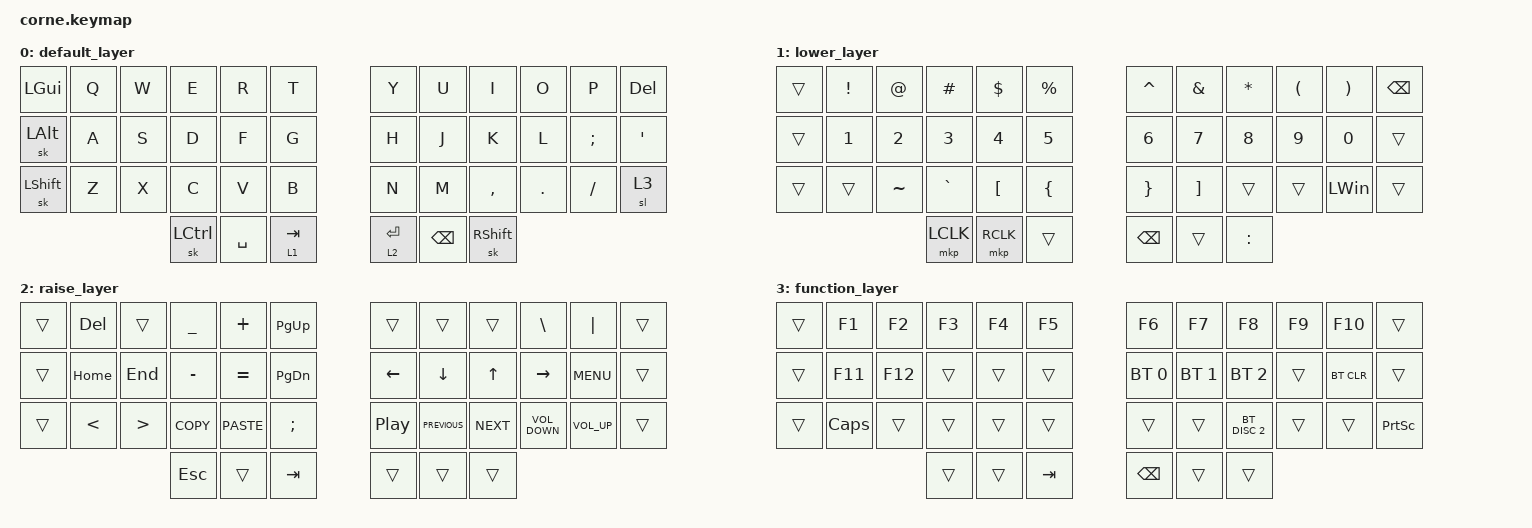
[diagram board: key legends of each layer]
/*
 * Copyright 2024 Michał Minarowski (@n3oney)
 * 
 * Originally created for QMK by Mark Stosberg (@markstos)
 * 
 * SPDX-License-Identifier: GPL-2.0-or-later
 */

#include <behaviors.dtsi>
#include <dt-bindings/zmk/bt.h>
#include <dt-bindings/zmk/keys.h>
#include <dt-bindings/zmk/mouse.h>

/ {
    combos { 
        compatible = "zmk,combos";
        jk_escape_combo {
            timeout-ms = <50>;
            key-positions = <19 20>;
            bindings = <&kp ESC>;
        };
        
        minus_combo {
            timeout-ms = <50>;
            key-positions = <15 16>;
            bindings = <&kp MINUS>;
        };

        underscore_combo {
            timeout-ms = <50>;
            key-positions = <15 16 41>;
            bindings = <&kp UNDERSCORE>;
        };
     };

    keymap {
        compatible = "zmk,keymap";

        default_layer {
            bindings = <
&kp LGUI   &kp Q  &kp W  &kp E      &kp R                 &kp T        &kp Y        &kp U          &kp I            &kp O    &kp P             &kp DELETE
&sk LALT   &kp A  &kp S  &kp D      &kp F                 &kp G        &kp H        &kp J          &kp K            &kp L    &kp SEMICOLON     &kp SINGLE_QUOTE
&sk LSHFT  &kp Z  &kp X  &kp C      &kp V                 &kp B        &kp N        &kp M          &kp COMMA        &kp DOT  &kp FSLH          &sl 3
                         &sk LCTRL  &kp SPACE  &lt 1 TAB         &lt 2 ENTER  &kp BACKSPACE  &sk RIGHT_SHIFT
            >;
        };

        lower_layer {
            bindings = <
&trans  &kp EXCLAMATION  &kp AT_SIGN   &kp POUND     &kp DOLLAR        &kp PERCENT       &kp CARET        &kp AMPERSAND      &kp ASTERISK  &kp LEFT_PARENTHESIS  &kp RIGHT_PARENTHESIS  &kp BSPC
&trans  &kp NUMBER_1     &kp NUMBER_2  &kp NUMBER_3  &kp NUMBER_4      &kp NUMBER_5      &kp NUMBER_6     &kp NUMBER_7       &kp NUMBER_8  &kp NUMBER_9          &kp NUMBER_0           &trans
&trans  &trans           &kp TILDE     &kp GRAVE     &kp LEFT_BRACKET  &kp LEFT_BRACE    &kp RIGHT_BRACE  &kp RIGHT_BRACKET  &trans        &trans                &kp LEFT_WIN           &trans
                                       &mkp LCLK     &mkp RCLK         &trans            &kp BACKSPACE    &trans             &kp COLON
            >;
        };

        raise_layer {
            bindings = <
&trans  &kp DELETE     &trans            &kp UNDERSCORE  &kp PLUS     &kp PAGE_UP      &trans            &trans          &trans        &kp BACKSLASH      &kp PIPE         &trans
&trans  &kp HOME       &kp END           &kp MINUS       &kp EQUAL    &kp PAGE_DOWN    &kp LEFT          &kp DOWN        &kp UP_ARROW  &kp RIGHT          &kp K_MENU       &trans
&trans  &kp LESS_THAN  &kp GREATER_THAN  &kp K_COPY      &kp K_PASTE  &kp SEMICOLON    &kp C_PLAY_PAUSE  &kp C_PREVIOUS  &kp C_NEXT    &kp C_VOLUME_DOWN  &kp C_VOLUME_UP  &trans
                                         &kp ESCAPE      &trans       &kp TAB          &trans            &trans          &trans
            >;
        };

        function_layer {
            bindings = <
&trans  &kp F1    &kp F2   &kp F3  &kp F4  &kp F5     &kp F6         &kp F7        &kp F8         &kp F9  &kp F10     &trans
&trans  &kp F11   &kp F12  &trans  &trans  &trans     &bt BT_SEL 0   &bt BT_SEL 1  &bt BT_SEL 2   &trans  &bt BT_CLR  &trans
&trans  &kp CAPS  &trans   &trans  &trans  &trans     &trans         &trans        &bt BT_DISC 2  &trans  &trans      &kp PRINTSCREEN
                           &trans  &trans  &kp TAB    &kp BACKSPACE  &trans        &trans
            >;
        };
    };
};
